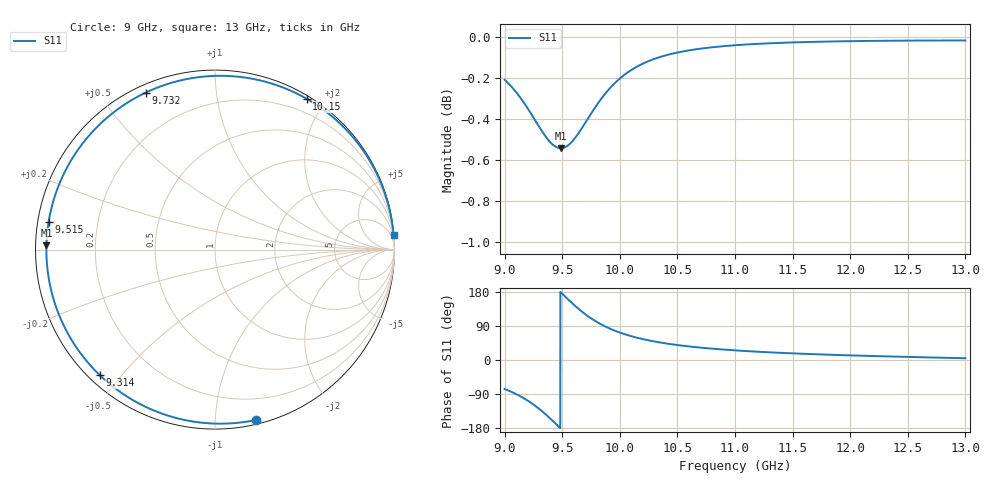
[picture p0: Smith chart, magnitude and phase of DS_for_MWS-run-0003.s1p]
! TOUCHSTONE file generated by CST DESIGN STUDIO
! Date and time: Tue Feb  4 12:56:04 2025
! Project name: C:\Work\MatlabApps\UnitCellOptimizationMatlab\CST\unitcell.cst
! Tree item: Tasks\Sweep1\SPara1\S-Parameters
! Header version: 2024
! Port assignment regex: !\s*Touchstone port\s*([0-9]+)\s*=\s*(CST MWS port|CST DES external port|CST DES block port)\s*(.+)\s* \(\"(.*)\"\)(\s*mode\s*([0-9]+))?.*
! Touchstone port assignment:
! Touchstone port 1 = CST DES external port 1 ("")
# GHz S MA R 50
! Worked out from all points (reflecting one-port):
!   4001 points, 9 GHz to 13 GHz, reference 50 ohm
!   lowest |S11| = -0.5 dB at 9.488 GHz (marker M1), VSWR 32.08, Z = 1.56 + j0.631 ohm
!   phase of S11 starts at -77 deg and turns -279 deg over the sweep
!   S11 on the Smith chart (normalised r, x): 9 GHz: 0.03, -1.27; 9.314 GHz: 0.03, -0.44; 9.515 GHz: 0.03, +0.08; 9.732 GHz: 0.03, +0.65; 10.15 GHz: 0.03, +1.78; 13 GHz: 1, +25
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9  0.9763 -76.6
9.08  0.971 -87.0
9.179  0.9627 -103.1
9.249  0.9559 -117.2
9.314  0.9495 -132.4
9.36  0.9454 -144.4
9.409  0.9419 -158.1
9.449  0.9401 -169.8
9.488  0.9395 178.6
9.5  0.9396 175.0
9.515  0.9398 170.5
9.568  0.9419 155.0
9.628  0.9463 138.6
9.679  0.9509 125.8
9.732  0.9561 113.9
9.786  0.9612 103.1
9.846  0.9665 92.8
9.922  0.9722 81.7
10  0.9769 72.4
10.15  0.9835 58.7
10.309  0.9879 48.4
10.5  0.9912 39.4
10.722  0.9935 32.0
11  0.9953 25.4
11.5  0.9968 17.5
12  0.9975 12.2
12.5  0.9979 8.1
13  0.9979 4.7
